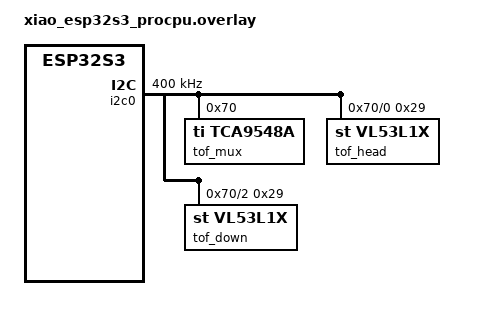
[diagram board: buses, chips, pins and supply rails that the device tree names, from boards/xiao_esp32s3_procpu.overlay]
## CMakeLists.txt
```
cmake_minimum_required(VERSION 3.20.0)

find_package(Zephyr REQUIRED HINTS $ENV{ZEPHYR_BASE})

project(hapnav_pin VERSION 0.1.0)

target_sources(app PRIVATE
    src/main.c
    src/ble.c
    src/sensors.c
)

# Pull in shared sources/headers (each subdirectory attaches itself to `app`).
add_subdirectory(${CMAKE_CURRENT_LIST_DIR}/../lib/ble     ${CMAKE_BINARY_DIR}/_lib_ble)
add_subdirectory(${CMAKE_CURRENT_LIST_DIR}/../lib/sensors ${CMAKE_BINARY_DIR}/_lib_sensors)
```

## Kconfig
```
# SPDX-License-Identifier: Apache-2.0
#
# Application Kconfig — chains in subsystem Kconfigs so symbols like
# CONFIG_HAPNAV_BENCH_MODE resolve through prj.conf.

rsource "../lib/sensors/Kconfig"

source "Kconfig.zephyr"
```

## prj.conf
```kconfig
# ── Core ──────────────────────────────────────────────────────────────────────
CONFIG_GPIO=y
CONFIG_I2C=y

# Delay main() by 2 s so the host has time to enumerate the ESP32-S3's
# native USB-Serial-JTAG console and the terminal-side `tio` can latch
# onto /dev/ttyACM* before the boot banner and sensor-init logs start.
# Without this, the boot sequence prints into the void.
CONFIG_BOOT_DELAY=2000

# Float printing + libm (BNO055 quaternion scaling, dropoff residual maths).
CONFIG_FPU=y
CONFIG_NEWLIB_LIBC=y

# ── I²C mux: TCA9548A (8-channel) hangs the three ToFs off i2c0 ───────────────
# Same driver family as the wristband mux. Channels must initialise after
# the root; Zephyr enforces the ordering with the priority below.
CONFIG_I2C_TCA954X=y
CONFIG_I2C_TCA954X_CHANNEL_INIT_PRIO=70

# ── ToFs: VL53L1X (head + down) on muxed branches ─────────────────────────────
# Each VL53L1X sits at its default 0x29 on its own mux channel — no XSHUT
# dance, no deferred init. The VL53L5CX (front, vendor ULD) is brought up
# in code on the front channel's virtual bus.
CONFIG_SENSOR=y
CONFIG_VL53L1X=y
# Polling for both heads; saves a GPIO + IRQ thread per sensor.
CONFIG_VL53L1X_INTERRUPT_MODE=n

# ── Pipeline geometry ────────────────────────────────────────────────────────
# Default: worn / real-world geometry (sensor at 1.35 m, operating range
# 0.3–3.0 m). Flip to =y for a desktop demo where the pin stands upright
# on a desk and objects move within a 10 cm – 2 m envelope — the obstacle,
# drop-off, and head-clearance constants all re-scale and the
# stationary-mute detector is defanged so the resting pin doesn't silence
# the wristband.
CONFIG_HAPNAV_BENCH_MODE=y

# Disable the VL53L1X head sensor for the bench demo — the VL53L5CX's
# ±22.3° cone is wide enough to cover the 10–20 cm bench working volume
# on its own. Flip back to =y when the head sensor is wanted (worn build).
CONFIG_HAPNAV_HEAD_TOF=y

# Disable the down-pointing dropoff detector for the bench demo — the
# down ToF's geometry only makes sense in the worn pose (pin upright on
# a body, sensor ~1.35 m above floor). Flip to =y for worn-mode testing.
CONFIG_HAPNAV_DROPOFF=y
CONFIG_HAPNAV_DOWN_TOF=y

# ── BLE (central role: drives the wristband) ─────────────────────────────────
CONFIG_BT=y
CONFIG_BT_CENTRAL=y
CONFIG_BT_GATT_CLIENT=y
CONFIG_BT_DEVICE_NAME="HapNav-Pin"
CONFIG_BT_MAX_CONN=1

# Bigger ATT MTU so a 212-byte combined frame fits in a single ATT_WRITE_CMD.
# ACL buffers cover MTU + 4 bytes of L2CAP header.
CONFIG_BT_BUF_ACL_RX_SIZE=251
CONFIG_BT_BUF_ACL_TX_SIZE=251
CONFIG_BT_L2CAP_TX_MTU=247

# ESP32 BLE controller benefits from a generous heap; ToF firmware blob upload
# also wants the bigger main stack.
CONFIG_HEAP_MEM_POOL_SIZE=32768
CONFIG_MAIN_STACK_SIZE=16384

# ── Logging ───────────────────────────────────────────────────────────────────
CONFIG_LOG=y
CONFIG_LOG_DEFAULT_LEVEL=3
# Drop ANSI colour escapes from the log backend — the Arduino IDE Serial
# Monitor (and most "simple" serial viewers) don't strip them and they
# appear as literal `[0m`, `[1;31m` etc. in the output.
CONFIG_LOG_BACKEND_SHOW_COLOR=n
# Send printk() directly to the console instead of routing it through the
# log subsystem's ring buffer. Our per-sample trace lines are large enough
# that the default behaviour drops other modules' log messages under load
# ("--- N messages dropped ---"). With this off, the trace and LOG_*()
# output are interleaved chronologically without buffer competition.
CONFIG_LOG_PRINTK=n

# Float printing in LOG_*() format strings.
CONFIG_CBPRINTF_FP_SUPPORT=y
```

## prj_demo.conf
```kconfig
CONFIG_HAPNAV_DEMO_MODE=y
CONFIG_HAPNAV_HEAD_TOF=n
CONFIG_HAPNAV_DOWN_TOF=n
CONFIG_HAPNAV_DROPOFF=y
```

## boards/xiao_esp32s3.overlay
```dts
/*
 * XIAO ESP32-S3 chest pin overlay.
 *
 * I2C devices on &i2c0 (SDA = D4/GPIO0_5, SCL = D5/GPIO0_6):
 *   - LSM6DSO          IMU                @ 0x6B (Sparkfun Qwiic default)
 *   - LIS2MDL          magnetometer       @ 0x1E
 *   - VL53L5CX         8×8 ToF (forward)  @ 0x52/8-bit → moved to 0x54/8-bit
 *                                                       at boot to free 0x29
 *   - VL53L1X (head)   single-zone ToF    @ 0x29  (in-tree Zephyr driver)
 *   - VL53L1X (height) single-zone ToF    @ <future, requires mux or
 *                                            second XSHUT>
 *
 * Address conflict: both VL53L5CX and VL53L1X power on at 7-bit 0x29.
 * Until we have a TCA9548A on the pin too, we sequence them with the
 * VL53L1X's XSHUT pin (D2/GPIO0_3):
 *
 *   1. App pulls XSHUT low      → VL53L1X off-bus
 *   2. App inits VL53L5CX at 0x29 and renames it to 0x2A (vendor ULD)
 *   3. App releases the deferred Zephyr VL53L1X driver via device_init()
 *      → driver pulls XSHUT high and probes at 0x29
 *
 * The Zephyr in-tree driver does not natively support runtime address
 * change; the VL53L5CX ULD does, so we move that one. After a power-cycle
 * the VL53L5CX boots back at 0x29 and the dance repeats.
 *
 * VL53L1X mounting: optical axis tilted +20° above world horizontal.
 * Combined with the chest-pin's −8° downtilt that holds the VL53L5CX,
 * the VL53L1X's mounting plane is +28° relative to the main pin face.
 * Detection envelope at a 1.35 m sensor mount height catches doorframes
 * (2.0–2.1 m) anywhere from ~1 m to ~2.5 m forward — see
 * Docs/Implementation/09_head_clearance.md for the geometry.
 */

&i2c0 {
	status = "okay";
	clock-frequency = <I2C_BITRATE_FAST>;	/* 400 kHz */

	tof_head: vl53l1x@29 {
		compatible = "st,vl53l1x";
		reg = <0x29>;
		status = "okay";
		zephyr,deferred-init;
		xshut-gpios = <&gpio0 3 GPIO_ACTIVE_HIGH>;	/* D2 */
	};
};

/ {
	aliases {
		hapnav-tof-head = &tof_head;
	};
};
```

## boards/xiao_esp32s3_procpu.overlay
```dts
/*
 * XIAO ESP32-S3 chest pin overlay (v3 — everything on the mux).
 *
 * Topology:
 *
 *   I²C0  (D2=SDA, D3=SCL, 400 kHz) ── TCA9548A mux @ 0x70
 *                                      ├─ ch0 → VL53L1X  (head, +20°) @ 0x29
 *                                      ├─ ch1 → VL53L5CX (front, 8×8) @ 0x29
 *                                      │        Vendor ULD; no DT node, code
 *                                      │        grabs the channel-bus device by
 *                                      │        alias and passes it in.
 *                                      ├─ ch2 → VL53L1X  (down, 45°)  @ 0x29
 *                                      ├─ ch3 → BNO055   (9-DOF IMU)  @ 0x28
 *                                      │        Adafruit BFF runs in stock
 *                                      │        I²C mode (PS1=PS0=0); the BMP280
 *                                      │        on the same BFF (0x77) is
 *                                      │        present but unused.
 *                                      └─ ch4..ch7 → spare
 *
 * The address conflict between the three ToFs (all default to 7-bit 0x29) is
 * dissolved by the mux — each lives at 0x29 on its own virtual bus and
 * `i2c-mux-idle-disconnect` keeps stray writes off the other channels.
 *
 * The BNO055 replaces the previous LSM6DSO + LIS2MDL + Madgwick stack — its
 * onboard NDOF fusion provides the body→world quaternion directly. It has no
 * in-tree Zephyr driver; our wrapper takes the mux ch3 virtual bus device and
 * talks register-level I²C against 0x28.
 *
 * Pin map (XIAO header):
 *   D2 (GPIO3)  → I²C0 SDA       (strapping pin, held high by Qwiic pull-ups)
 *   D3 (GPIO4)  → I²C0 SCL
 *   D0, D1, D6..D10              free (no UART link — the prior UART1 route is
 *                                gone now that the IMU lives on the mux).
 *
 * Mounting (worn pose):
 *   VL53L5CX (front) : −8°  downtilt
 *   VL53L1X  (head)  : +20° uptilt
 *   VL53L1X  (down)  : 45°  below horizontal (see HAPNAV_DOWN_TOF_DOWNTILT_DEG
 *                      in dropoff.h)
 */

#include <zephyr/dt-bindings/pinctrl/esp32s3-pinctrl.h>

&pinctrl {
	/*
	 * I²C0 re-mapped onto D2/D3 — the board-default D4/D5 pads tested
	 * dead on this prototype. The ESP32-S3 GPIO matrix lets I²C0 land on
	 * any GPIO.
	 */
	i2c0_default: i2c0_default {
		group1 {
			pinmux = <I2C0_SDA_GPIO3>,
				 <I2C0_SCL_GPIO4>;
			bias-pull-up;
			drive-open-drain;
			output-high;
		};
	};
};

&i2c0 {
	status = "okay";
	clock-frequency = <I2C_BITRATE_FAST>;
	pinctrl-0 = <&i2c0_default>;
	pinctrl-names = "default";

	tof_mux: tca9548a@70 {
		compatible = "ti,tca9548a";
		reg = <0x70>;
		status = "okay";
		#address-cells = <1>;
		#size-cells = <0>;
		i2c-mux-idle-disconnect;

		mux_ch0: mux_i2c@0 {
			reg = <0>;
			#address-cells = <1>;
			#size-cells = <0>;

			tof_head: vl53l1x@29 {
				compatible = "st,vl53l1x";
				reg = <0x29>;
				status = "okay";
				zephyr,deferred-init;
			};
		};

		tof_front_bus: mux_i2c@1 {
			reg = <1>;
			#address-cells = <1>;
			#size-cells = <0>;
			/* VL53L5CX runs on this bus via the vendor ULD — no
			 * DT node, just the bus device looked up by alias. */
		};

		mux_ch2: mux_i2c@2 {
			reg = <2>;
			#address-cells = <1>;
			#size-cells = <0>;

			tof_down: vl53l1x@29 {
				compatible = "st,vl53l1x";
				reg = <0x29>;
				status = "okay";
				zephyr,deferred-init;
			};
		};

		imu_bus: mux_i2c@3 {
			reg = <3>;
			#address-cells = <1>;
			#size-cells = <0>;
			/* BNO055 (and BFF BMP280) hang off this channel — no
			 * DT nodes; bno055.c grabs the bus device by alias and
			 * speaks register-level I²C. */
		};
	};
};

/ {
	aliases {
		hapnav-tof-front-bus = &tof_front_bus;
		hapnav-tof-head      = &tof_head;
		hapnav-tof-down      = &tof_down;
		hapnav-imu-bus       = &imu_bus;
	};
};
```

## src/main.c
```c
#include "ble.h"
#include "sensors.h"

#include <hapnav/ble_proto.h>

#include <zephyr/kernel.h>
#include <zephyr/device.h>
#include <zephyr/drivers/gpio.h>
#include <zephyr/logging/log.h>

LOG_MODULE_REGISTER(hapnav_pin, LOG_LEVEL_INF);

#define SAMPLE_PERIOD_MS  12   /* ~83 Hz (4× the previous 20 Hz cadence); keep in sync with sensors.c */

/* Onboard LED acts as a hardware-level "I'm alive" indicator independent
 * of the USB-CDC console: a slow blink in steady-state means the sample
 * loop is running even if UART logs aren't reaching the host. A fast
 * blink during early init signals "still bringing sensors up". */
static const struct gpio_dt_spec led =
	GPIO_DT_SPEC_GET_OR(DT_ALIAS(led0), gpios, {0});

static void heartbeat_tick(uint32_t loop_count, bool ble_ready)
{
	if (led.port == NULL || !device_is_ready(led.port)) {
		return;
	}
	/* ~83 Hz loop → toggle every 40 ticks ≈ 1 Hz blink when BLE up,
	 * every 16 ticks ≈ 2.5 Hz when BLE down (visible "no link yet"). */
	uint32_t period = ble_ready ? 40 : 16;
	if ((loop_count % period) == 0) {
		gpio_pin_toggle_dt(&led);
	}
}

int main(void)
{
	LOG_INF("HapNav pin: boot");

	if (led.port != NULL && device_is_ready(led.port)) {
		(void)gpio_pin_configure_dt(&led, GPIO_OUTPUT_ACTIVE);
	}

	bool sensors_ok = (pin_sensors_init() == 0);
	if (!sensors_ok) {
		LOG_ERR("Sensor init failed — frame stream disabled, BLE link only");
	}

	if (pin_ble_init() != 0) {
		LOG_ERR("BLE init failed");
		return -EIO;
	}

	LOG_INF("HapNav pin: entering ~83 Hz sample loop");

	struct hapnav_frame frame;
	uint32_t loop_count = 0;
	while (1) {
		bool ble_ready = pin_ble_is_ready();

		if (sensors_ok && pin_sensors_sample(&frame) == 0) {
			if (ble_ready) {
				int rc = pin_ble_send_frame(&frame);
				if (rc) {
					static uint32_t last_err_log_ms;
					uint32_t now = k_uptime_get_32();
					if (now - last_err_log_ms > 1000) {
						LOG_WRN("BLE send failed: %d", rc);
						last_err_log_ms = now;
					}
				}
			}
		}

		heartbeat_tick(loop_count, ble_ready);
		loop_count++;
		k_msleep(SAMPLE_PERIOD_MS);
	}
	return 0;
}
```

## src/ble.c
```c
#include "ble.h"

#include <zephyr/kernel.h>
#include <zephyr/logging/log.h>
#include <zephyr/bluetooth/bluetooth.h>
#include <zephyr/bluetooth/conn.h>
#include <zephyr/bluetooth/gatt.h>
#include <zephyr/bluetooth/uuid.h>
#include <zephyr/bluetooth/hci.h>

#include <string.h>

LOG_MODULE_REGISTER(pin_ble, LOG_LEVEL_INF);

/* 10 × 1.25 ms = 12.5 ms connection interval → ~80 Hz frame delivery.
 * Matches the 12 ms pin sample period; keeps latency under 13 ms. */
#define HAPNAV_CONN_PARAM BT_LE_CONN_PARAM(10, 10, 0, 400)

static struct bt_uuid_128 svc_uuid   = BT_UUID_INIT_128(HAPNAV_UUID_SVC_VAL);
static struct bt_uuid_128 frame_uuid = BT_UUID_INIT_128(HAPNAV_UUID_FRAME_VAL);

static struct bt_conn *default_conn;
static struct bt_gatt_discover_params discover_params;
static struct bt_gatt_exchange_params mtu_xchg_params;
static uint16_t frame_handle;

static void start_scan(void);

/* ── MTU exchange ─────────────────────────────────────────────────────────── */

static void mtu_exchanged(struct bt_conn *conn, uint8_t err,
			  struct bt_gatt_exchange_params *params)
{
	ARG_UNUSED(params);
	if (err) {
		LOG_WRN("MTU exchange failed (0x%02x)", err);
	} else {
		LOG_INF("MTU exchanged: ATT MTU = %u", bt_gatt_get_mtu(conn));
	}
}

static void att_mtu_updated(struct bt_conn *conn, uint16_t tx, uint16_t rx)
{
	ARG_UNUSED(conn);
	LOG_INF("ATT MTU updated: tx=%u rx=%u", tx, rx);
}

static struct bt_gatt_cb gatt_callbacks = {
	.att_mtu_updated = att_mtu_updated,
};

/* ── discovery: PRIMARY service → IMU characteristic ──────────────────────── */

static uint8_t discover_func(struct bt_conn *conn,
			     const struct bt_gatt_attr *attr,
			     struct bt_gatt_discover_params *params)
{
	if (!attr) {
		LOG_INF("Discovery exhausted (frame=%u)", frame_handle);
		return BT_GATT_ITER_STOP;
	}

	if (params->type == BT_GATT_DISCOVER_PRIMARY) {
		discover_params.uuid         = &frame_uuid.uuid;
		discover_params.start_handle = attr->handle + 1;
		discover_params.type         = BT_GATT_DISCOVER_CHARACTERISTIC;
		(void)bt_gatt_discover(conn, &discover_params);
		return BT_GATT_ITER_STOP;
	}

	if (params->type == BT_GATT_DISCOVER_CHARACTERISTIC) {
		const struct bt_gatt_chrc *chrc = attr->user_data;
		frame_handle = chrc->value_handle;
		LOG_INF("Frame char handle = %u", frame_handle);
		return BT_GATT_ITER_STOP;
	}

	return BT_GATT_ITER_STOP;
}

static void start_discovery(struct bt_conn *conn)
{
	discover_params.uuid         = &svc_uuid.uuid;
	discover_params.func         = discover_func;
	discover_params.start_handle = BT_ATT_FIRST_ATTRIBUTE_HANDLE;
	discover_params.end_handle   = BT_ATT_LAST_ATTRIBUTE_HANDLE;
	discover_params.type         = BT_GATT_DISCOVER_PRIMARY;

	int err = bt_gatt_discover(conn, &discover_params);
	if (err) {
		LOG_ERR("Service discovery failed: %d", err);
	}
}

/* ── scan / connect ───────────────────────────────────────────────────────── */

static bool ad_match(struct bt_data *data, void *user_data)
{
	bool *found = user_data;

	if (data->type != BT_DATA_UUID128_ALL && data->type != BT_DATA_UUID128_SOME) {
		return true;
	}
	if (data->data_len % 16 != 0) {
		return true;
	}
	for (int i = 0; i < data->data_len; i += 16) {
		struct bt_uuid_128 u = { .uuid.type = BT_UUID_TYPE_128 };
		memcpy(u.val, &data->data[i], 16);
		if (bt_uuid_cmp(&u.uuid, &svc_uuid.uuid) == 0) {
			*found = true;
			return false;
		}
	}
	return true;
}

static void scan_cb(const bt_addr_le_t *addr, int8_t rssi, uint8_t adv_type,
		    struct net_buf_simple *ad)
{
	if (default_conn) {
		return;
	}
	if (adv_type != BT_GAP_ADV_TYPE_ADV_IND &&
	    adv_type != BT_GAP_ADV_TYPE_ADV_DIRECT_IND) {
		return;
	}

	bool found = false;
	bt_data_parse(ad, ad_match, &found);
	if (!found) {
		return;
	}

	char addr_str[BT_ADDR_LE_STR_LEN];
	bt_addr_le_to_str(addr, addr_str, sizeof(addr_str));
	LOG_INF("Wristband seen at %s (RSSI %d), connecting", addr_str, rssi);

	if (bt_le_scan_stop()) {
		LOG_WRN("Scan stop failed");
	}

	int err = bt_conn_le_create(addr, BT_CONN_LE_CREATE_CONN,
				    HAPNAV_CONN_PARAM, &default_conn);
	if (err) {
		LOG_ERR("Create conn failed: %d", err);
		start_scan();
	}
}

static void scan_heartbeat(struct k_work *work);
static K_WORK_DELAYABLE_DEFINE(scan_heartbeat_work, scan_heartbeat);

static void scan_heartbeat(struct k_work *work)
{
	ARG_UNUSED(work);
	if (!default_conn) {
		LOG_INF("Still scanning for HapNav-Wrist…");
		k_work_schedule(&scan_heartbeat_work, K_SECONDS(5));
	}
}

static void start_scan(void)
{
	int err = bt_le_scan_start(BT_LE_SCAN_ACTIVE, scan_cb);
	if (err) {
		LOG_ERR("Scan start failed: %d", err);
		return;
	}
	LOG_INF("Scanning for HapNav-Wrist");
	k_work_schedule(&scan_heartbeat_work, K_SECONDS(5));
}

static void connected(struct bt_conn *conn, uint8_t err)
{
	if (err) {
		LOG_ERR("Connect failed (0x%02x)", err);
		bt_conn_unref(default_conn);
		default_conn = NULL;
		start_scan();
		return;
	}
	LOG_INF("Connected");

	mtu_xchg_params.func = mtu_exchanged;
	int merr = bt_gatt_exchange_mtu(conn, &mtu_xchg_params);
	if (merr) {
		LOG_WRN("MTU exchange request failed: %d", merr);
	}

	start_discovery(conn);
}

static void disconnected(struct bt_conn *conn, uint8_t reason)
{
	LOG_INF("Disconnected (reason 0x%02x)", reason);
	bt_conn_unref(default_conn);
	default_conn = NULL;
	frame_handle = 0;
	start_scan();
}

BT_CONN_CB_DEFINE(conn_callbacks) = {
	.connected    = connected,
	.disconnected = disconnected,
};

/* ── public API ───────────────────────────────────────────────────────────── */

int pin_ble_init(void)
{
	bt_gatt_cb_register(&gatt_callbacks);

	int err = bt_enable(NULL);
	if (err) {
		LOG_ERR("bt_enable failed: %d", err);
		return err;
	}
	LOG_INF("Bluetooth initialised");
	start_scan();
	return 0;
}

bool pin_ble_is_ready(void)
{
	if (!default_conn || !frame_handle) {
		return false;
	}
	return bt_gatt_get_mtu(default_conn) >=
	       sizeof(struct hapnav_frame) + 3;
}

int pin_ble_send_frame(const struct hapnav_frame *frame)
{
	if (!default_conn || !frame_handle) {
		return -ENOTCONN;
	}
	return bt_gatt_write_without_response(default_conn, frame_handle,
					      frame, sizeof(*frame), false);
}
```

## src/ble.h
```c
/*
 * Pin-side BLE (central role).
 *
 *   pin_ble_init()         — start the stack and begin scanning
 *   pin_ble_is_ready()     — true once connected, frame char discovered, MTU OK
 *   pin_ble_send_frame()   — write 212-byte frame (write-without-response)
 */
#ifndef HAPNAV_PIN_BLE_H_
#define HAPNAV_PIN_BLE_H_

#include <hapnav/ble_proto.h>
#include <stdint.h>
#include <stdbool.h>

int  pin_ble_init(void);
bool pin_ble_is_ready(void);
int  pin_ble_send_frame(const struct hapnav_frame *frame);

#endif /* HAPNAV_PIN_BLE_H_ */
```

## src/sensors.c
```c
#include "sensors.h"

#include <hapnav/bno055.h>
#include <hapnav/vl53l5cx.h>
#include <hapnav/obstacle.h>
#include <hapnav/dropoff.h>

#include <zephyr/kernel.h>
#include <zephyr/device.h>
#include <zephyr/devicetree.h>
#include <zephyr/drivers/i2c.h>
#include <zephyr/drivers/sensor.h>
#include <zephyr/logging/log.h>
#include <zephyr/sys/printk.h>
#include <math.h>
#include <string.h>

LOG_MODULE_REGISTER(pin_sensors, LOG_LEVEL_INF);

/*
 * Pin sensor bring-up (v3 — everything on the mux):
 *   TCA9548A mux on i2c0 with four populated branches:
 *     ch0 (alias hapnav-tof-head)      → VL53L1X head (Zephyr sensor)
 *     ch1 (alias hapnav-tof-front-bus) → VL53L5CX via vendor ULD
 *     ch2 (alias hapnav-tof-down)      → VL53L1X down (Zephyr sensor)
 *     ch3 (alias hapnav-imu-bus)       → BNO055 9-DOF IMU @ 0x28 (NDOF fusion)
 *
 * Each ToF lives at its default 0x29 on its own muxed bus — no XSHUT, no
 * runtime address shift, no warm-reset retained-address handling. The BNO055
 * sits on its own muxed bus too, isolated from the ToFs except when ch3 is
 * routed. The Zephyr i2c-mux driver picks the channel transparently per
 * transfer.
 */

#define SAMPLE_PERIOD_MS  12            /* ~83 Hz (4× the previous 20 Hz cadence) */
#define SAMPLE_DT_S       (SAMPLE_PERIOD_MS / 1000.0f)

/* How often each of head + down VL53L1X actually gets sampled, in loop
 * counts. Head and down are 180° out of phase, so at the steady-state
 * effective ~50 Hz loop rate this puts each VL53L1X at ~6 Hz — well above
 * what slow-changing head-clearance / dropoff needs. Lower this for
 * snappier VL53L1X latency at the cost of lower main-loop rate. */
#define VL53L1X_SAMPLE_PERIOD_LOOPS  8

/* Head-clearance trigger envelope. Worn-pose default catches doorframes at
 * 1.0–2.5 m forward; bench mode shrinks it to a 15 cm slant. */
#if defined(CONFIG_HAPNAV_BENCH_MODE)
#define HEAD_PROXIMITY_MAX_MM       150
#else
#define HEAD_PROXIMITY_MAX_MM       2200
#endif
#define HEAD_PROXIMITY_MIN_MM        40   /* below this the reading is suspect */

/* DT handles */
#define TOF_FRONT_BUS_NODE   DT_ALIAS(hapnav_tof_front_bus)
#define TOF_HEAD_NODE        DT_ALIAS(hapnav_tof_head)
#define TOF_DOWN_NODE        DT_ALIAS(hapnav_tof_down)
#define IMU_BUS_NODE         DT_ALIAS(hapnav_imu_bus)

#define BNO055_I2C_ADDR      0x28   /* Adafruit BFF default (COM3=GND) */

static const struct device *const tof_front_bus = DEVICE_DT_GET(TOF_FRONT_BUS_NODE);
static const struct device *const tof_head      = DEVICE_DT_GET(TOF_HEAD_NODE);
static const struct device *const tof_down      = DEVICE_DT_GET(TOF_DOWN_NODE);
static const struct device *const imu_bus       = DEVICE_DT_GET(IMU_BUS_NODE);

static struct hapnav_bno055       bno055;
static struct hapnav_vl53l5cx     tof;
static struct hapnav_dropoff_state dropoff_state;

static bool    bno055_ok;
static bool    tof_ok;
static bool    tof_have_frame;     /* true after first vl53l5cx_poll == 1 */
static bool    tof_head_ok;
static bool    tof_down_ok;

static int16_t head_distance_mm = -1;
static int16_t down_distance_mm = -1;

/* ── I2C bus-stall recovery (parent of the mux) ─────────────────────────── */

#define I2C_RECOVER_AFTER_FAILS  2
static const struct device   *i2c_bus;
static int                     i2c_fail_streak;

/* ── Per-pixel ToF smoothing state ──────────────────────────────────────── */

#define TOF_EMA_NUM 3
#define TOF_EMA_DEN 10
static int16_t smoothed_dist_mm[HAPNAV_TOF_ZONES];
static bool    tof_smooth_init;

static void smooth_tof_frame(const int16_t raw_dist[HAPNAV_TOF_ZONES],
			     const uint8_t raw_status[HAPNAV_TOF_ZONES],
			     int16_t       out_dist[HAPNAV_TOF_ZONES],
			     uint8_t       out_status[HAPNAV_TOF_ZONES])
{
	if (!tof_smooth_init) {
		for (int i = 0; i < HAPNAV_TOF_ZONES; i++) {
			smoothed_dist_mm[i] = raw_dist[i];
		}
		tof_smooth_init = true;
	}
	for (int i = 0; i < HAPNAV_TOF_ZONES; i++) {
		bool valid = (raw_status[i] == 5 || raw_status[i] == 6 ||
			      raw_status[i] == 9);
		if (valid) {
			int32_t s = ((int32_t)smoothed_dist_mm[i] *
				     (TOF_EMA_DEN - TOF_EMA_NUM) +
				     (int32_t)raw_dist[i] * TOF_EMA_NUM) /
				    TOF_EMA_DEN;
			smoothed_dist_mm[i] = (int16_t)s;
		}
		out_dist[i]   = smoothed_dist_mm[i];
		out_status[i] = raw_status[i];
	}
}

/* ── I2C bus diagnostics ────────────────────────────────────────────────── */

static void i2c_scan_log(const struct device *i2c)
{
	if (!device_is_ready(i2c)) {
		LOG_ERR("I²C bus %s not ready — can't scan", i2c->name);
		return;
	}
	LOG_INF("I²C scan on %s (mux parent — child devices hide behind 0x70):", i2c->name);
	int found = 0;
	for (uint8_t addr = 0x08; addr <= 0x77; addr++) {
		uint8_t b;
		if (i2c_read(i2c, &b, 1, addr) != 0) {
			continue;
		}
		const char *hint = "";
		switch (addr) {
		case 0x70: hint = " (TCA9548A mux)"; break;
		default: break;
		}
		LOG_INF("  found 0x%02x%s", addr, hint);
		found++;
	}
	if (found == 0) {
		LOG_ERR("  no devices responded — check 3V3 / GND / SDA / SCL");
	}
}

static void i2c_health_update(int err)
{
	if (err == 0) {
		if (i2c_fail_streak) {
			LOG_INF("I²C: reads healthy again after %d failure(s)",
				i2c_fail_streak);
		}
		i2c_fail_streak = 0;
		return;
	}
	if (++i2c_fail_streak < I2C_RECOVER_AFTER_FAILS) {
		return;
	}
	LOG_WRN("I²C: %d consecutive failures (last %d) — recovering parent bus",
		i2c_fail_streak, err);
	int rc = i2c_recover_bus(i2c_bus);
	if (rc == -ENOSYS) {
		LOG_ERR("I²C: controller has no recover_bus support");
	} else if (rc) {
		LOG_ERR("I²C: recover_bus failed: %d", rc);
	} else {
		LOG_INF("I²C: bus recovered — stuck slave released");
	}
	i2c_fail_streak = 0;
}

/* ── Init ───────────────────────────────────────────────────────────────── */

int pin_sensors_init(void)
{
	hapnav_obstacle_init();
	hapnav_dropoff_init(&dropoff_state);

	i2c_bus = DEVICE_DT_GET(DT_NODELABEL(i2c0));
	i2c_scan_log(i2c_bus);

	if (!device_is_ready(tof_front_bus)) {
		LOG_ERR("TCA9548A channel 0 (front) not ready");
		tof_ok = false;
	} else {
		int rc = hapnav_vl53l5cx_init(&tof, tof_front_bus,
					      HAPNAV_VL53L5CX_DEFAULT_ADDR_8BIT);
		if (rc) {
			LOG_WRN("VL53L5CX (front) init failed: %d", rc);
			tof_ok = false;
		} else {
			tof_ok = true;
		}
	}

	/* Head + down VL53L1X nodes are marked zephyr,deferred-init so the
	 * in-tree driver doesn't try to talk to a maybe-absent chip during
	 * POST_KERNEL. We call device_init() here only when the corresponding
	 * Kconfig says we actually intend to use that sensor. */
#if defined(CONFIG_HAPNAV_HEAD_TOF)
	if (device_init(tof_head) == 0 && device_is_ready(tof_head)) {
		tof_head_ok = true;
		LOG_INF("VL53L1X (head) ready on mux ch0");
	} else {
		LOG_WRN("VL53L1X (head) bring-up failed");
		tof_head_ok = false;
	}
#else
	LOG_INF("VL53L1X (head) disabled via CONFIG_HAPNAV_HEAD_TOF=n");
	tof_head_ok = false;
#endif

#if defined(CONFIG_HAPNAV_DOWN_TOF)
	if (device_init(tof_down) == 0 && device_is_ready(tof_down)) {
		tof_down_ok = true;
		LOG_INF("VL53L1X (down) ready on mux ch2 (downtilt %.1f°)",
			(double)HAPNAV_DOWN_TOF_DOWNTILT_DEG);
	} else {
		LOG_WRN("VL53L1X (down) bring-up failed");
		tof_down_ok = false;
	}
#else
	LOG_INF("VL53L1X (down) disabled via CONFIG_HAPNAV_DOWN_TOF=n");
	tof_down_ok = false;
#endif

	int rc = hapnav_bno055_init(&bno055, imu_bus, BNO055_I2C_ADDR);
	if (rc) {
		LOG_ERR("BNO055 init failed: %d (proceeding without IMU)", rc);
		bno055_ok = false;
	} else {
		bno055_ok = true;

		/* Mounting-specific axis remap. The chip is glued into the
		 * pin such that, when the pin is worn upright facing forward,
		 *   chip −Z  → user forward  (body −Y)
		 *   chip +Y  → world up      (body +Z)
		 *   chip +X  → wearer's left (so body +X right = chip −X)
		 *
		 * That makes the chip→body mapping
		 *   body X = −chip X
		 *   body Y =  chip Z
		 *   body Z =  chip Y
		 *
		 * which encodes as REMAP_CONFIG = 0x18, REMAP_SIGN = 0x01
		 * (datasheet §3.4, a right-handed permutation, det = +1).
		 * After this the BNO055 reports accel / gyro / quaternion
		 * directly in our pipeline's body frame — no extra rotation
		 * downstream. */
		rc = hapnav_bno055_set_axis_remap(&bno055, 0x18, 0x01);
		if (rc) {
			LOG_WRN("BNO055 axis remap failed: %d (using chip default)",
				rc);
		} else {
			LOG_INF("BNO055 axis remap applied (CONFIG=0x18, SIGN=0x01)");
		}
	}

	/* ── Hardware-check summary ─────────────────────────────────────────
	 * One last block so the boot log makes it instantly obvious which
	 * sensors landed and which didn't, without scrolling through the
	 * interleaved per-device init logs. The mux gets its own probe (one
	 * 1-byte read from 0x70) because nothing else can work without it;
	 * if it's FAIL, all the ToF rows below it will be FAIL too and the
	 * "0/3 ToFs ready" result is the keystone-failure diagnostic. */
	uint8_t mux_probe;
	const bool mux_ok = (i2c_read(i2c_bus, &mux_probe, 1, 0x70) == 0);
	const int tofs_ready = (tof_ok ? 1 : 0) +
			       (tof_head_ok ? 1 : 0) +
			       (tof_down_ok ? 1 : 0);

	LOG_INF("-- Sensor hardware check -----------------------------------");
	if (mux_ok) {
		LOG_INF("  Mux  TCA9548A  @ 0x70  : OK");
	} else {
		LOG_WRN("  Mux  TCA9548A  @ 0x70  : FAIL");
	}
	if (tof_ok) {
		LOG_INF("  ch1  VL53L5CX  (front) : OK");
	} else {
		LOG_WRN("  ch1  VL53L5CX  (front) : FAIL");
	}
	if (tof_head_ok) {
		LOG_INF("  ch0  VL53L1X   (head)  : OK");
	} else {
		LOG_WRN("  ch0  VL53L1X   (head)  : FAIL");
	}
	if (tof_down_ok) {
		LOG_INF("  ch2  VL53L1X   (down)  : OK");
	} else {
		LOG_WRN("  ch2  VL53L1X   (down)  : FAIL");
	}
	if (tofs_ready == 3) {
		LOG_INF("  Result: %d/3 ToFs ready", tofs_ready);
	} else {
		LOG_WRN("  Result: %d/3 ToFs ready", tofs_ready);
	}
	LOG_INF("------------------------------------------------------------");

	return 0;
}

/* ── Sample loop ────────────────────────────────────────────────────────── */

static void update_head_distance(void)
{
#if !defined(CONFIG_HAPNAV_HEAD_TOF)
	head_distance_mm = -1;
	return;
#else
	if (!tof_head_ok) {
		head_distance_mm = -1;
		return;
	}
	if (sensor_sample_fetch(tof_head)) {
		head_distance_mm = -1;
		return;
	}
	struct sensor_value val;
	if (sensor_channel_get(tof_head, SENSOR_CHAN_DISTANCE, &val)) {
		head_distance_mm = -1;
		return;
	}
	int32_t mm = val.val1;
	if (mm < HEAD_PROXIMITY_MIN_MM || mm > 4000) {
		head_distance_mm = -1;
		return;
	}
	head_distance_mm = (mm > INT16_MAX) ? INT16_MAX : (int16_t)mm;
#endif
}

static void update_down_distance(void)
{
#if !defined(CONFIG_HAPNAV_DOWN_TOF)
	down_distance_mm = -1;
	return;
#else
	if (!tof_down_ok) {
		down_distance_mm = -1;
		return;
	}
	if (sensor_sample_fetch(tof_down)) {
		down_distance_mm = -1;
		return;
	}
	struct sensor_value val;
	if (sensor_channel_get(tof_down, SENSOR_CHAN_DISTANCE, &val)) {
		down_distance_mm = -1;
		return;
	}
	int32_t mm = val.val1;
	if (mm < 0 || mm > 4000) {
		down_distance_mm = -1;
		return;
	}
	down_distance_mm = (mm > INT16_MAX) ? INT16_MAX : (int16_t)mm;
#endif
}

/* Extract body-frame pitch from a body→world quaternion [w,x,y,z]. Used by
 * the dropoff module's pitch-compensation slot (reserved). */
static inline float quat_pitch(const float q[4])
{
	float sinp = 2.0f * (q[0] * q[2] - q[3] * q[1]);
	if (sinp >  1.0f) sinp =  1.0f;
	if (sinp < -1.0f) sinp = -1.0f;
	return asinf(sinp);
}

int pin_sensors_sample(struct hapnav_frame *out)
{
	memset(out, 0, sizeof(*out));
	out->timestamp_ms = k_uptime_get_32();

	/* ── BNO055 motion (quat + accel + gyro in one UART burst) ──────── */
	float accel_g[3]    = {0};
	float gyro_radps[3] = {0};
	if (bno055_ok) {
		int err = hapnav_bno055_read_motion(&bno055, out->quat,
						    accel_g, gyro_radps);
		if (err) {
			LOG_WRN("BNO055 read failed: %d", err);
			/* identity quat so the rest of the pipeline doesn't NaN */
			out->quat[0] = 1.0f;
		}
	} else {
		out->quat[0] = 1.0f;
	}

	/* ── Front ToF (VL53L5CX, vendor ULD on mux ch1) ────────────────── */
	if (tof_ok) {
		int rc = hapnav_vl53l5cx_poll(&tof);
		if (rc < 0) {
			LOG_WRN("ToF poll error: %d", rc);
			i2c_health_update(rc);
		} else {
			if (rc == 1) {
				tof_have_frame = true;
			}
			i2c_health_update(0);
		}
		if (tof_have_frame) {
			int16_t raw_dist[HAPNAV_TOF_ZONES];
			uint8_t raw_status[HAPNAV_TOF_ZONES];
			for (int i = 0; i < HAPNAV_TOF_ZONES; i++) {
				raw_dist[i]   = tof.results.distance_mm[i];
				raw_status[i] = tof.results.target_status[i];
			}
			smooth_tof_frame(raw_dist, raw_status,
					 out->distances_mm, out->target_status);
		}
	}

	/* ── Head + down ToFs ──────────────────────────────────────────── */
	/* ── Head + down VL53L1X — skip-framed ─────────────────────────────
	 * The Zephyr in-tree VL53L1X driver's `sensor_channel_get` blocks on
	 * `VL53L1_WaitMeasurementDataReady`, which sits for the chip's full
	 * timing-budget window (~33 ms in LONG mode). Doing both reads every
	 * loop pins the sample rate to ~12 Hz floor. Sampling each one every
	 * VL53L1X_SAMPLE_PERIOD_LOOPS iterations, staggered, lets the main
	 * loop ride near its k_msleep target while the heads still update
	 * fast enough for slow-changing head-clearance and dropoff signals
	 * (each ~7-10 Hz at a 50-60 Hz loop). The intervening loops just
	 * reuse the last-cached `head_distance_mm` / `down_distance_mm`. */
	static uint32_t vl53l1x_phase;
	if ((vl53l1x_phase % VL53L1X_SAMPLE_PERIOD_LOOPS) == 0) {
		update_head_distance();
	}
	if ((vl53l1x_phase % VL53L1X_SAMPLE_PERIOD_LOOPS) ==
	    VL53L1X_SAMPLE_PERIOD_LOOPS / 2) {
		update_down_distance();
	}
	vl53l1x_phase++;

	/* ── Obstacle pipeline ─────────────────────────────────────────── */
	hapnav_obstacle_step(out->distances_mm, out->target_status,
			     out->quat, gyro_radps, accel_g,
			     head_distance_mm, HEAD_PROXIMITY_MAX_MM,
			     SAMPLE_DT_S, &out->obstacles);

	/* ── Down-ToF dropoff → OR the flag in ─────────────────────────── */
#if defined(CONFIG_HAPNAV_DROPOFF)
	float pitch = quat_pitch(out->quat);
	bool dropoff = hapnav_dropoff_check_down(&dropoff_state,
						 down_distance_mm,
						 0.0f /* sensor_height_m reserved */,
						 pitch);
	if (dropoff) {
		out->obstacles.flags |= HAPNAV_OBS_FLAG_DROPOFF;
	}
#endif

	/* ── Trace ──────────────────────────────────────────────────────── */
	{
		static uint32_t trace_div;
		bool dump_grid = (trace_div++ % 1) == 0;   /* Per Frame */
		const struct hapnav_obstacles *o = &out->obstacles;

		printk("PIN {\"ts\":%u,"
		       "\"a\":[%.3f,%.3f,%.3f],\"g\":[%.3f,%.3f,%.3f],"
		       "\"q\":[%.3f,%.3f,%.3f,%.3f],"
		       "\"head\":%d,\"down\":%d,"
		       "\"obs\":{\"urg\":[%u,%u,%u,%u],\"near\":%d,\"flags\":\"0x%02x\"}",
		       out->timestamp_ms,
		       (double)accel_g[0], (double)accel_g[1], (double)accel_g[2],
		       (double)gyro_radps[0], (double)gyro_radps[1], (double)gyro_radps[2],
		       (double)out->quat[0], (double)out->quat[1],
		       (double)out->quat[2], (double)out->quat[3],
		       (int)head_distance_mm, (int)down_distance_mm,
		       o->urgency[0], o->urgency[1], o->urgency[2], o->urgency[3],
		       (int)o->nearest_range_mm, (unsigned)o->flags);

		if (dump_grid) {
			printk(",\"d\":[");
			for (int i = 0; i < HAPNAV_TOF_ZONES; i++) {
				printk("%s%d", i ? "," : "", (int)out->distances_mm[i]);
			}
			printk("],\"st\":[");
			for (int i = 0; i < HAPNAV_TOF_ZONES; i++) {
				printk("%s%u", i ? "," : "", (unsigned)out->target_status[i]);
			}
			printk("]");
		}
		printk("}\n");
	}

	return 0;
}
```

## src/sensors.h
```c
/*
 * Pin-side sensor orchestration. Owns the BNO055 (UART, NDOF fusion) and
 * the three muxed ToFs (front VL53L5CX, head VL53L1X, down VL53L1X), and
 * gives the rest of the app one call to assemble a complete BLE frame.
 */
#ifndef HAPNAV_PIN_SENSORS_H_
#define HAPNAV_PIN_SENSORS_H_

#include <hapnav/ble_proto.h>

int  pin_sensors_init(void);

/*
 * Read the BNO055 (quaternion + accel + gyro), poll each ToF, run the
 * obstacle pipeline and dropoff check, and pack everything into `out`.
 * Returns 0 on success. Caller is expected to invoke this on a fixed
 * schedule (currently 20 Hz, SAMPLE_PERIOD_MS in main.c).
 */
int  pin_sensors_sample(struct hapnav_frame *out);

#endif /* HAPNAV_PIN_SENSORS_H_ */
```
